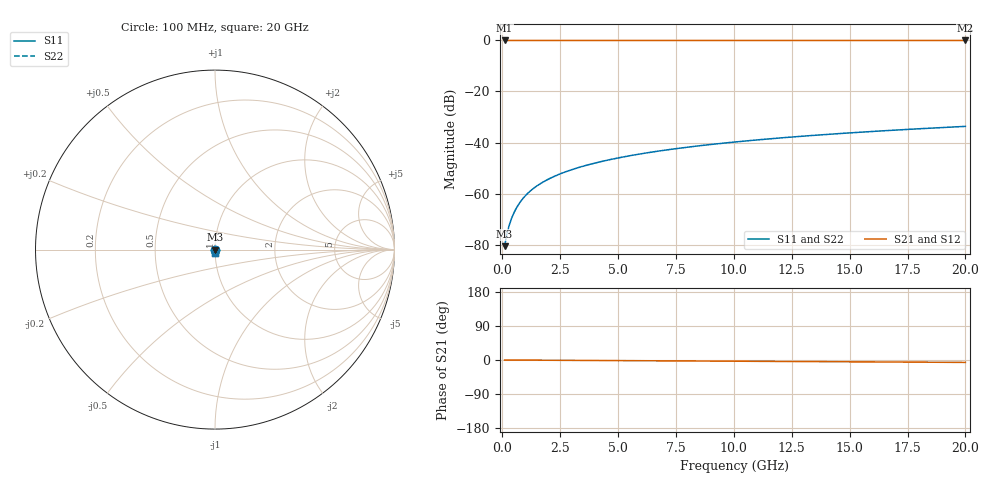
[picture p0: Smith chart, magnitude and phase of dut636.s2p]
! Touchstone file exported from HFSS 2026.1.0
!  File:  C:/ffzhzh/LocalFiles/Ansys_Project_Files/temp_train_TSV_636_1783026335_46388.aedt
!  Generated:  05:07:19 AM Jul  3, 2026
!  Design:  TSV
!  Project:  temp_train_TSV_636_1783026335_46388
! Variables:
!  h_bsmrdl = 2um
!  h_ox = 20um
!  h_rdl = 5um
!  h_sub = 59.75um
!  h_tmrdl = 5um
!  h_tsv = 59.75um
!  h_via = 3um
!  l_bsmrdl = 300um
!  l_sub = 429.9um
!  l_tmrdl = 200um
!  m_sub = 200um
!  pitch = 49.68um
!  r_tsv = 14.95um
!  s_tmrdl = 10um
!  w_bsmrdl = 18um
!  w_sub = 500um
!  w_tmrdl = 12um
!  x_tsv_center1 = 206um
!  x_tsv_center2 = 524um
!  x_tsv_center3 = 736um
!  x_tsv_center4 = 1054um
!  x_tsv_center5 = 1266um
!  x_tsv_center6 = 1584um
# GHz S MA R 50.000000
! Terminal data exported
! Port[1] = TSV1_1_T1
! Port[2] = TSV1_1_T2
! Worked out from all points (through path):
!   200 points, 100 MHz to 20 GHz, reference 50 ohm
!   highest |S21| = 0.00 dB at 100 MHz (marker M1); lowest = 0.0 dB at 20 GHz (marker M2)
!   lowest |S11| = -80.6 dB at 100 MHz (marker M3), VSWR 1.00, Z = 50 - j0.00711 ohm
!   |S11| at or under -10 dB: start of sweep to end of sweep
!   |S22| runs from -80.6 to -33.7 dB; largest |S21 - S12| = 1e-15
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0.1  9.321e-05 -49.7  0.9999 -0.0  0.9999 -0.0  9.321e-05 -49.7
! Gamma 0 0 0 0
! Port Impedance 50 0 50 0
0.2  0.0001617 -64.0  0.9999 -0.1  0.9999 -0.1  0.0001617 -64.0
0.3  0.0002404 -68.9  0.9999 -0.1  0.9999 -0.1  0.0002404 -68.9
0.4  0.0003262 -71.4  0.9999 -0.1  0.9999 -0.1  0.0003262 -71.4
0.5  0.0004172 -73.0  0.9999 -0.2  0.9999 -0.2  0.0004172 -73.0
0.6  0.0005121 -74.2  0.9999 -0.2  0.9999 -0.2  0.0005121 -74.2
0.8  0.000709 -76.3  0.9998 -0.3  0.9998 -0.3  0.000709 -76.3
1.1  0.001012 -78.7  0.9998 -0.4  0.9998 -0.4  0.001012 -78.7
1.3  0.001215 -79.9  0.9998 -0.4  0.9998 -0.4  0.001215 -79.9
1.5  0.001418 -81.0  0.9998 -0.5  0.9998 -0.5  0.001418 -81.0
1.8  0.001723 -82.2  0.9997 -0.6  0.9997 -0.6  0.001723 -82.2
2.1  0.002027 -83.1  0.9997 -0.7  0.9997 -0.7  0.002027 -83.1
2.7  0.002635 -84.4  0.9997 -0.9  0.9997 -0.9  0.002635 -84.4
3.5  0.00345 -85.6  0.9997 -1.1  0.9997 -1.1  0.00345 -85.6
4.2  0.004166 -86.4  0.9996 -1.3  0.9996 -1.3  0.004166 -86.4
5  0.00499 -87.0  0.9996 -1.6  0.9996 -1.6  0.00499 -87.0
6.8  0.006857 -88.3  0.9995 -2.2  0.9995 -2.2  0.006857 -88.3
8.3  0.008422 -89.1  0.9994 -2.6  0.9994 -2.6  0.008422 -89.1
10.1  0.01031 -90.0  0.9994 -3.2  0.9994 -3.2  0.01031 -90.0
13.4  0.01377 -91.5  0.9993 -4.2  0.9993 -4.2  0.01377 -91.5
16.7  0.01724 -92.9  0.9991 -5.3  0.9991 -5.3  0.01724 -92.9
20  0.02073 -94.1  0.999 -6.3  0.999 -6.3  0.02073 -94.1
